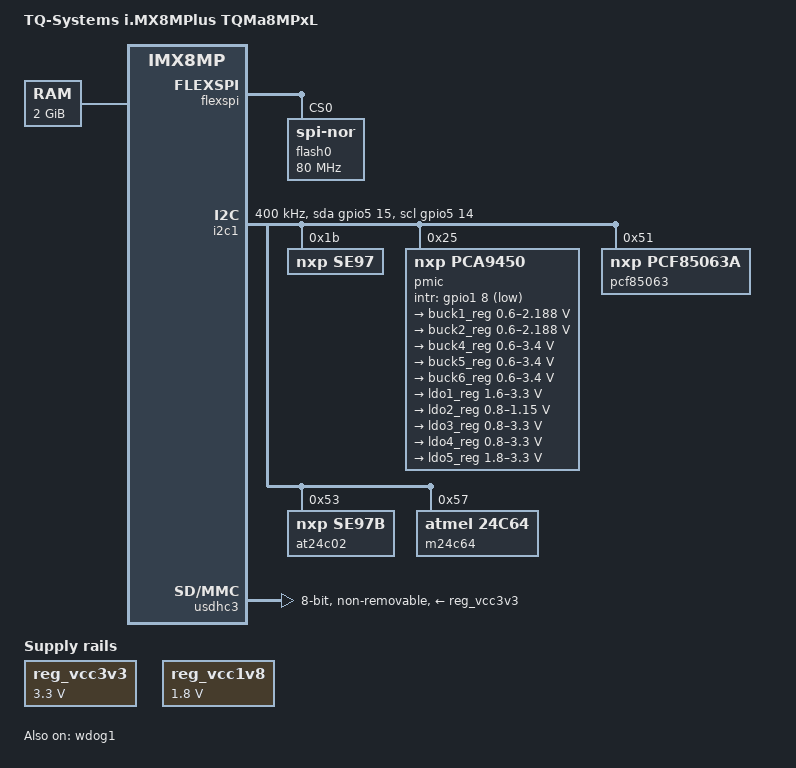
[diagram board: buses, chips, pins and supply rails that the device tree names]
// SPDX-License-Identifier: GPL-2.0-or-later OR MIT
/*
 * Copyright 2021 TQ-Systems GmbH
 */

#include "imx8mp.dtsi"

/ {
	model = "TQ-Systems i.MX8MPlus TQMa8MPxL";
	compatible = "tq,imx8mp-tqma8mpxl", "fsl,imx8mp";

	memory@40000000 {
		device_type = "memory";
		reg = <0x0 0x40000000 0 0x80000000>;
	};

	/* identical to buck4_reg, but should never change */
	reg_vcc3v3: regulator-vcc3v3 {
		compatible = "regulator-fixed";
		regulator-name = "VCC3V3";
		regulator-min-microvolt = <3300000>;
		regulator-max-microvolt = <3300000>;
		regulator-always-on;
	};

	/* e-MMC IO, needed for HS modes */
	reg_vcc1v8: regulator-vcc1v8 {
		compatible = "regulator-fixed";
		regulator-name = "VCC1V8";
		regulator-min-microvolt = <1800000>;
		regulator-max-microvolt = <1800000>;
		regulator-always-on;
	};
};

&flexspi {
	pinctrl-names = "default";
	pinctrl-0 = <&pinctrl_flexspi0>;
	num-cs = <1>;
	status = "okay";

	flash0: flash@0 {
		reg = <0>;
		#address-cells = <1>;
		#size-cells = <1>;
		compatible = "jedec,spi-nor";
		spi-max-frequency = <80000000>;
		spi-tx-bus-width = <4>;
		spi-rx-bus-width = <4>;
		/* used for macronix flash only */
		macronix,dsr = <0x3>;
	};
};

&i2c1 {
	clock-frequency = <400000>;
	pinctrl-names = "default", "gpio";
	pinctrl-0 = <&pinctrl_i2c1>;
	pinctrl-1 = <&pinctrl_i2c1_gpio>;
	scl-gpios = <&gpio5 14 GPIO_ACTIVE_HIGH>;
	sda-gpios = <&gpio5 15 GPIO_ACTIVE_HIGH>;
	status = "okay";

	/* NXP SE97BTP with temperature sensor + eeprom */
	se97: temperature-sensor-eeprom@1b {
		compatible = "nxp,se97", "jedec,jc-42.4-temp";
		reg = <0x1b>;
	};

	pmic: pmic@25 {
		reg = <0x25>;
		compatible = "nxp,pca9450";
		/* PMIC PCA9450 PMIC_nINT GPIO1_IO8 */
		pinctrl-names = "default";
		pinctrl-0 = <&pinctrl_pmic>;
		gpio_intr = <&gpio1 8 GPIO_ACTIVE_LOW>;

		regulators {
			#address-cells = <1>;
			#size-cells = <0>;

			pca9450,pmic-buck2-uses-i2c-dvs;
			/* Run/Standby voltage */
			pca9450,pmic-buck2-dvs-voltage = <950000>, <850000>;

			buck1_reg: regulator@0 {
				reg = <0>;
				regulator-compatible = "buck1";
				/*
				 * TODO:
				 * V_0V85_SOC min = 850.000 max = 950.000
				 */
				regulator-min-microvolt = <600000>;
				regulator-max-microvolt = <2187500>;
				regulator-boot-on;
				regulator-always-on;
				regulator-ramp-delay = <3125>;
			};

			buck2_reg: regulator@1 {
				reg = <1>;
				regulator-compatible = "buck2";
				/*
				 * TODO:
				 *  V_0V85_ARM min = 850.000 max = 950.000
				 */
				regulator-min-microvolt = <600000>;
				regulator-max-microvolt = <2187500>;
				regulator-boot-on;
				regulator-always-on;
				regulator-ramp-delay = <3125>;
			};

			buck4_reg: regulator@3 {
				reg = <3>;
				regulator-compatible = "buck4";
				/* TODO: V_3V3 min = max = 3.300.000 */
				regulator-min-microvolt = <600000>;
				regulator-max-microvolt = <3400000>;
				regulator-boot-on;
				regulator-always-on;
			};

			buck5_reg: regulator@4 {
				reg = <4>;
				regulator-compatible = "buck5";
				/* TODO: V_1V8 min = max = 1.800.000 */
				regulator-min-microvolt = <600000>;
				regulator-max-microvolt = <3400000>;
				regulator-boot-on;
				regulator-always-on;
			};

			buck6_reg: regulator@5 {
				reg = <5>;
				regulator-compatible = "buck6";
				/* TODO: V_1V1 min = max = 1.100.000 */
				regulator-min-microvolt = <600000>;
				regulator-max-microvolt = <3400000>;
				regulator-boot-on;
				regulator-always-on;
			};

			ldo1_reg: regulator@6 {
				reg = <6>;
				regulator-compatible = "ldo1";
				/* TODO: V_1V8_SNVS min = max = 1.800.000 */
				regulator-min-microvolt = <1600000>;
				regulator-max-microvolt = <3300000>;
				regulator-boot-on;
				regulator-always-on;
			};

			ldo2_reg: regulator@7 {
				reg = <7>;
				regulator-compatible = "ldo2";
				regulator-min-microvolt = <800000>;
				regulator-max-microvolt = <1150000>;
				/*
				 * regulator-boot-on;
				 * regulator-always-on;
				 */
			};

			ldo3_reg: regulator@8 {
				reg = <8>;
				regulator-compatible = "ldo3";
				/* TODO: V_1V8_ANA min = max = 1.800.000 */
				regulator-min-microvolt = <800000>;
				regulator-max-microvolt = <3300000>;
				regulator-boot-on;
				regulator-always-on;
			};

			ldo4_reg: regulator@9 {
				reg = <9>;
				regulator-compatible = "ldo4";
				regulator-min-microvolt = <800000>;
				regulator-max-microvolt = <3300000>;
				/*
				 * regulator-boot-on;
				 * regulator-always-on;
				 */
			};

			ldo5_reg: regulator@10 {
				reg = <10>;
				regulator-compatible = "ldo5";
				/* TODO: V_SD2 */
				regulator-min-microvolt = <1800000>;
				regulator-max-microvolt = <3300000>;
			};
		};
	};

	pcf85063: rtc@51 {
		compatible = "nxp,pcf85063a";
		reg = <0x51>;
	};

	at24c02: eeprom@53 {
		compatible = "nxp,se97b", "atmel,24c02";
		reg = <0x53>;
		pagesize = <16>;
	};

	m24c64: eeprom@57 {
		compatible = "atmel,24c64";
		reg = <0x57>;
		pagesize = <32>;
	};
};

&iomuxc {
	pinctrl_flexspi0: flexspi0grp {
		fsl,pins = <
			MX8MP_IOMUXC_NAND_ALE__FLEXSPI_A_SCLK		0x1c2
			MX8MP_IOMUXC_NAND_CE0_B__FLEXSPI_A_SS0_B	0x82
			MX8MP_IOMUXC_NAND_DATA00__FLEXSPI_A_DATA00	0x82
			MX8MP_IOMUXC_NAND_DATA01__FLEXSPI_A_DATA01	0x82
			MX8MP_IOMUXC_NAND_DATA02__FLEXSPI_A_DATA02	0x82
			MX8MP_IOMUXC_NAND_DATA03__FLEXSPI_A_DATA03	0x82
		>;
	};

	pinctrl_i2c1: i2c1grp {
		fsl,pins = <
			MX8MP_IOMUXC_I2C1_SCL__I2C1_SCL		0x400001c3
			MX8MP_IOMUXC_I2C1_SDA__I2C1_SDA		0x400001c3
		>;
	};

	pinctrl_i2c1_gpio: i2c1grp-gpio {
		fsl,pins = <
			MX8MP_IOMUXC_I2C1_SCL__GPIO5_IO14	0x400001c3
			MX8MP_IOMUXC_I2C1_SDA__GPIO5_IO15	0x400001c3
		>;
	};

	pinctrl_pmic: pmicirq {
		fsl,pins = <
			MX8MP_IOMUXC_GPIO1_IO08__GPIO1_IO08	0x41
		>;
	};

	pinctrl_reg_usdhc2_vmmc: regusdhc2vmmc {
		fsl,pins = <
			MX8MP_IOMUXC_SD2_RESET_B__GPIO2_IO19	0x41
		>;
	};

	pinctrl_usdhc3: usdhc3grp {
		fsl,pins = <
			MX8MP_IOMUXC_NAND_WE_B__USDHC3_CLK	0x190
			MX8MP_IOMUXC_NAND_WP_B__USDHC3_CMD	0x1d0
			MX8MP_IOMUXC_NAND_DATA04__USDHC3_DATA0	0x1d0
			MX8MP_IOMUXC_NAND_DATA05__USDHC3_DATA1	0x1d0
			MX8MP_IOMUXC_NAND_DATA06__USDHC3_DATA2	0x1d0
			MX8MP_IOMUXC_NAND_DATA07__USDHC3_DATA3	0x1d0
			MX8MP_IOMUXC_NAND_RE_B__USDHC3_DATA4	0x1d0
			MX8MP_IOMUXC_NAND_CE2_B__USDHC3_DATA5	0x1d0
			MX8MP_IOMUXC_NAND_CE3_B__USDHC3_DATA6	0x1d0
			MX8MP_IOMUXC_NAND_CLE__USDHC3_DATA7	0x1d0
			MX8MP_IOMUXC_NAND_CE1_B__USDHC3_STROBE	0x190
		>;
	};

	pinctrl_usdhc3_100mhz: usdhc3grp-100mhz {
		fsl,pins = <
			MX8MP_IOMUXC_NAND_WE_B__USDHC3_CLK	0x194
			MX8MP_IOMUXC_NAND_WP_B__USDHC3_CMD	0x1d4
			MX8MP_IOMUXC_NAND_DATA04__USDHC3_DATA0	0x1d4
			MX8MP_IOMUXC_NAND_DATA05__USDHC3_DATA1	0x1d4
			MX8MP_IOMUXC_NAND_DATA06__USDHC3_DATA2	0x1d4
			MX8MP_IOMUXC_NAND_DATA07__USDHC3_DATA3	0x1d4
			MX8MP_IOMUXC_NAND_RE_B__USDHC3_DATA4	0x1d4
			MX8MP_IOMUXC_NAND_CE2_B__USDHC3_DATA5	0x1d4
			MX8MP_IOMUXC_NAND_CE3_B__USDHC3_DATA6	0x1d4
			MX8MP_IOMUXC_NAND_CLE__USDHC3_DATA7	0x1d4
			MX8MP_IOMUXC_NAND_CE1_B__USDHC3_STROBE	0x194
		>;
	};

	pinctrl_usdhc3_200mhz: usdhc3grp-200mhz {
		fsl,pins = <
			MX8MP_IOMUXC_NAND_WE_B__USDHC3_CLK	0x196
			MX8MP_IOMUXC_NAND_WP_B__USDHC3_CMD	0x1d6
			MX8MP_IOMUXC_NAND_DATA04__USDHC3_DATA0	0x1d6
			MX8MP_IOMUXC_NAND_DATA05__USDHC3_DATA1	0x1d6
			MX8MP_IOMUXC_NAND_DATA06__USDHC3_DATA2	0x1d6
			MX8MP_IOMUXC_NAND_DATA07__USDHC3_DATA3	0x1d6
			MX8MP_IOMUXC_NAND_RE_B__USDHC3_DATA4	0x1d6
			MX8MP_IOMUXC_NAND_CE2_B__USDHC3_DATA5	0x1d6
			MX8MP_IOMUXC_NAND_CE3_B__USDHC3_DATA6	0x1d6
			MX8MP_IOMUXC_NAND_CLE__USDHC3_DATA7	0x1d6
			MX8MP_IOMUXC_NAND_CE1_B__USDHC3_STROBE	0x196
		>;
	};

	pinctrl_wdog: wdoggrp {
		fsl,pins = <
			MX8MP_IOMUXC_GPIO1_IO02__WDOG1_WDOG_B	0xc6
		>;
	};
};

&usdhc3 {
	pinctrl-names = "default", "state_100mhz", "state_200mhz";
	pinctrl-0 = <&pinctrl_usdhc3>;
	pinctrl-1 = <&pinctrl_usdhc3_100mhz>;
	pinctrl-2 = <&pinctrl_usdhc3_200mhz>;
	bus-width = <8>;
	non-removable;
	no-sd;
	no-sdio;
	vmmc-supply = <&reg_vcc3v3>;
	vqmmc-supply = <&reg_vcc1v8>;
	status = "okay";
};

&wdog1 {
	pinctrl-names = "default";
	pinctrl-0 = <&pinctrl_wdog>;
	fsl,ext-reset-output;
	status = "okay";
};
